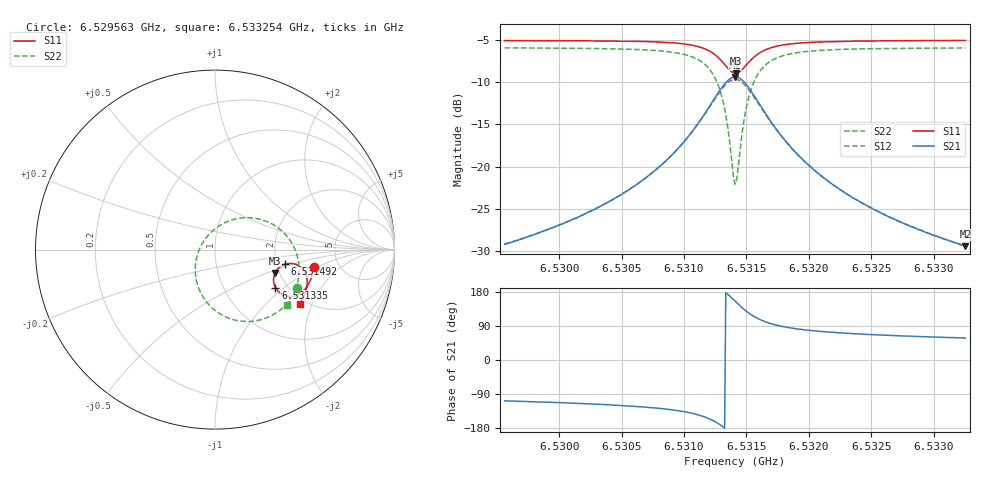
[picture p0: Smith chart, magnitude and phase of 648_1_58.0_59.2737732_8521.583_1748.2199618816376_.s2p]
#  HZ  S  RI  R  50.00
! Rohde & Schwarz Vector Network Analyzer
! Rohde-Schwarz,ZNB20-2Port,1311601062101988,3.16
! Created: UTC 3/21/2024, 1:19:19 AM
! freq[Hz]  re:S11  im:S11  re:S21  im:S21  re:S12  im:S12  re:S22  im:S22
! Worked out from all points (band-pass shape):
!   401 points, 6.529563 GHz to 6.533254 GHz, reference 50 ohm
!   highest |S21| = -9.35 dB at 6.531409 GHz (marker M1); lowest = -29.5 dB at 6.533254 GHz (marker M2)
!   |S21| within 3 dB of the highest: 6.531226 GHz to 6.531595 GHz (369.1 kHz wide, 0.00565 % of centre)
!   lowest |S11| = -8.9 dB at 6.531418 GHz (marker M3), VSWR 2.12, Z = 94.8 - j28.3 ohm
!   |S11| at or under -10 dB: nowhere
!   |S22| runs from -22.1 to -5.9 dB; largest |S21 - S12| = 0.014
!   S11 on the Smith chart (normalised r, x): 6.529563 GHz: 3.26, -0.94; 6.531335 GHz: 1.74, -0.87; 6.531492 GHz: 2.21, -0.43; 6.533254 GHz: 1.84, -1.64
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6.5295632e9  0.5518 -0.0984  -0.0105 -0.0329  -0.0113 -0.0326  0.4593 -0.216
6.5301815e9  0.5384 -0.1509  -0.0217 -0.0463  -0.0227 -0.046  0.4231 -0.2744
6.5305045e9  0.5262 -0.1818  -0.0345 -0.0594  -0.0361 -0.0585  0.3893 -0.3134
6.5307997e9  0.5061 -0.2152  -0.0604 -0.0788  -0.0628 -0.077  0.331 -0.3586
6.5310212e9  0.4738 -0.2449  -0.1084 -0.099  -0.1113 -0.0947  0.2355 -0.3954
6.5311781e9  0.4232 -0.2607  -0.1874 -0.1005  -0.1892 -0.0922  0.0927 -0.3872
6.5312704e9  0.3727 -0.2483  -0.2647 -0.0622  -0.2619 -0.0507  -0.0332 -0.3078
6.5313073e9  0.3508 -0.2309  -0.2967 -0.026  -0.2906 -0.0142  -0.0796 -0.2407
6.5313349e9  0.3368 -0.2112  -0.3155 0.0117  -0.3066 0.0225  -0.1033 -0.1743
6.5313903e9  0.3269 -0.1581  -0.3214 0.1078  -0.3083 0.1128  -0.0941 -0.0165
6.5314088e9  0.3311 -0.139  -0.3107 0.1405  -0.2973 0.1433  -0.0705 0.0348
6.531418e9  0.3346 -0.1301  -0.3028 0.156  -0.2896 0.1576  -0.055 0.0587
6.5314364e9  0.3446 -0.1135  -0.2831 0.184  -0.2705 0.1835  -0.0175 0.1008
6.5314549e9  0.3572 -0.0996  -0.2588 0.2072  -0.2474 0.2049  0.026 0.134
6.5314918e9  0.3875 -0.0818  -0.2042 0.2362  -0.1956 0.2317  0.1208 0.1721
6.5315564e9  0.4377 -0.0788  -0.1165 0.2409  -0.1126 0.2366  0.2669 0.1642
6.5316487e9  0.4822 -0.1023  -0.0408 0.2049  -0.0392 0.2025  0.3892 0.0876
6.5317871e9  0.5078 -0.1418  0.00361 0.1499  0.00494 0.149  0.4542 -0.0214
6.532027e9  0.5141 -0.1891  0.0212 0.0953  0.0223 0.095  0.4683 -0.1329
6.5323038e9  0.5078 -0.225  0.0228 0.0648  0.0239 0.0645  0.456 -0.2012
6.5326453e9  0.4959 -0.2583  0.0211 0.0454  0.022 0.0451  0.4361 -0.2518
6.5332543e9  0.4716 -0.3054  0.0178 0.0285  0.0184 0.0282  0.4013 -0.3095
